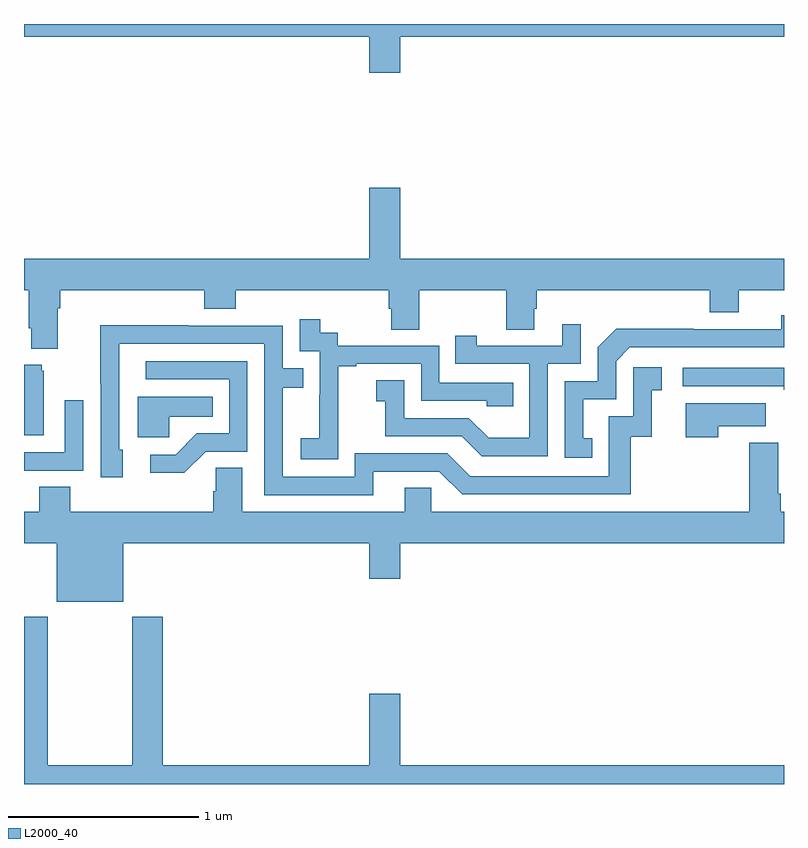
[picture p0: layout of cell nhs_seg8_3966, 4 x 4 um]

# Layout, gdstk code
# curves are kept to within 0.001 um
import gdstk
lib = gdstk.Library(unit=1e-6, precision=1e-09)
def P(c, l, *ps):  # polygons
    for p in ps: c.add(gdstk.Polygon(p, *l))
L2000_40 = (2000, 40)

nhs_seg8_3966 = lib.new_cell('nhs_seg8_3966')
P(nhs_seg8_3966, L2000_40, [(356.98,1117.832),(359,1117.832),(359,1117.9),(355,1117.9),(355,1117.832),(356.816,1117.832),(356.816,1117.644),(356.98,1117.644)],
  [(355.177,1116.404),(355.19,1116.404),(355.19,1116.5),(355.949,1116.5),(355.949,1116.401),(356.114,1116.401),(356.114,1116.5),(356.921,1116.5),(356.921,1116.402),(356.933,1116.402),(356.933,1116.292),(357.081,1116.292),(357.081,1116.5),(357.538,1116.5),(357.538,1116.292),(357.685,1116.292),(357.685,1116.402),(357.698,1116.402),(357.698,1116.5),(358.61,1116.5),(358.61,1116.383),(358.762,1116.383),(358.762,1116.5),(359,1116.5),(359,1116.664),(356.98,1116.664),(356.98,1117.039),(356.816,1117.039),(356.816,1116.664),(355,1116.664),(355,1116.5),(355.025,1116.5),(355.025,1116.298),(355.037,1116.298),(355.037,1116.191),(355.177,1116.191)],
  [(357.992,1115.721),(357.943,1115.721),(357.943,1115.925),(358.116,1115.925),(358.116,1116.126),(358.188,1116.198),(359,1116.198),(359,1116.367),(358.986,1116.367),(358.986,1116.294),(358.526,1116.294),(358.526,1116.296),(358.118,1116.296),(358.02,1116.198),(358.02,1116.021),(357.846,1116.021),(357.846,1115.616),(357.992,1115.616)],
  [(356.655,1115.815),(356.654,1115.815),(356.654,1116.099),(356.749,1116.099),(356.749,1116.111),(357.09,1116.111),(357.09,1115.916),(357.435,1115.916),(357.435,1115.889),(357.575,1115.889),(357.575,1116.012),(357.186,1116.012),(357.186,1116.207),(356.652,1116.207),(356.652,1116.276),(356.56,1116.276),(356.56,1116.346),(356.451,1116.346),(356.451,1116.177),(356.556,1116.177),(356.556,1115.948),(356.555,1115.948),(356.555,1115.719),(356.457,1115.719),(356.457,1115.609),(356.655,1115.609)],
  [(357.756,1116.111),(357.93,1116.111),(357.93,1116.319),(357.833,1116.319),(357.833,1116.207),(357.382,1116.207),(357.382,1116.259),(357.271,1116.259),(357.271,1116.111),(357.66,1116.111),(357.66,1115.722),(357.446,1115.722),(357.342,1115.826),(357,1115.826),(357,1116.025),(356.853,1116.025),(356.853,1115.915),(356.902,1115.915),(356.902,1115.73),(357.305,1115.73),(357.41,1115.625),(357.756,1115.625)],
  [(356.839,1115.544),(357.186,1115.544),(357.306,1115.424),(358.193,1115.424),(358.193,1115.727),(358.304,1115.727),(358.304,1115.973),(358.357,1115.973),(358.357,1116.094),(358.206,1116.094),(358.206,1115.835),(358.077,1115.835),(358.077,1115.52),(357.348,1115.52),(357.228,1115.64),(356.742,1115.64),(356.742,1115.517),(356.361,1115.517),(356.361,1115.986),(356.471,1115.986),(356.471,1116.087),(356.361,1116.087),(356.361,1116.312),(355.865,1116.312),(355.865,1116.314),(355.402,1116.314),(355.402,1116.007),(355.404,1116.007),(355.404,1115.514),(355.519,1115.514),(355.519,1115.658),(355.5,1115.658),(355.501,1116.216),(356.265,1116.216),(356.265,1115.421),(356.839,1115.421)],
  [(355.956,1115.649),(356.175,1115.649),(356.175,1116.126),(355.641,1116.126),(355.641,1116.03),(356.079,1116.03),(356.079,1115.745),(355.91,1115.745),(355.799,1115.634),(355.665,1115.634),(355.665,1115.537),(355.843,1115.537)],
  [(355.105,1116.075),(355.094,1116.075),(355.094,1116.106),(355,1116.106),(355,1115.735),(355.105,1115.735)],
  [(359,1116.09),(358.467,1116.09),(358.467,1115.994),(358.999,1115.994),(358.999,1115.974),(359,1115.974)],
  [(355.764,1115.834),(355.994,1115.834),(355.994,1115.938),(355.598,1115.938),(355.598,1115.726),(355.764,1115.726)],
  [(355.311,1115.92),(355.215,1115.92),(355.215,1115.646),(355,1115.646),(355,1115.55),(355.311,1115.55)],
  [(358.655,1115.783),(358.903,1115.783),(358.903,1115.905),(358.484,1115.905),(358.484,1115.724),(358.655,1115.724)],
  [(355.522,1115.168),(356.816,1115.168),(356.816,1114.98),(356.98,1114.98),(356.98,1115.168),(359,1115.168),(359,1115.332),(358.982,1115.332),(358.982,1115.428),(358.969,1115.428),(358.969,1115.695),(358.817,1115.695),(358.817,1115.332),(357.144,1115.332),(357.144,1115.459),(357.005,1115.459),(357.005,1115.332),(356.149,1115.332),(356.149,1115.564),(356.01,1115.564),(356.01,1115.441),(355.997,1115.441),(355.997,1115.332),(355.244,1115.332),(355.244,1115.465),(355.079,1115.465),(355.079,1115.332),(355,1115.332),(355,1115.168),(355.172,1115.168),(355.172,1114.859),(355.522,1114.859)],
  [(359,1114),(356.98,1114),(356.98,1114.375),(356.816,1114.375),(356.816,1114),(355.73,1114),(355.73,1114.78),(355.57,1114.78),(355.57,1114),(355.125,1114),(355.125,1114.78),(355,1114.78),(355,1113.9),(359,1113.9)])

lib.write_gds('nhs_seg8_3966.gds')
